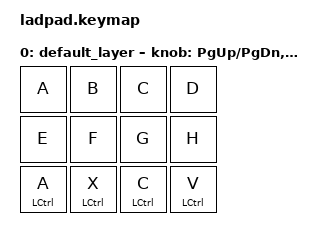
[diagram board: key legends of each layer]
/*
* Copyright (c) 2020 The ZMK Contributors
*
* SPDX-License-Identifier: MIT
*/

#include <behaviors.dtsi>
#include <dt-bindings/zmk/keys.h>
#include <dt-bindings/zmk/bt.h>
#include <dt-bindings/zmk/outputs.h>

#define BASE 0
#define NAV  1
#define NUM  2
#define FUN  3
#define SYM  4
#define MEDIA  5
#define BLU 6

&mt {
  quick-tap-ms = <100>;
  global-quick-tap;
  flavor = "tap-preferred";
  tapping-term-ms = <180>;
};

/ {
  keymap {
    compatible = "zmk,keymap";

    default_layer {
      bindings = <
        &kp A          &kp B          &kp C          &kp D
        &kp E          &kp F          &kp G          &kp H
        &mt LCTRL A    &mt LCTRL X    &mt LCTRL C    &mt LCTRL V
      >;
      sensor-bindings = <&inc_dec_kp PG_UP PG_DN &inc_dec_kp C_VOL_DN C_VOL_UP>;
    };
  };
};
